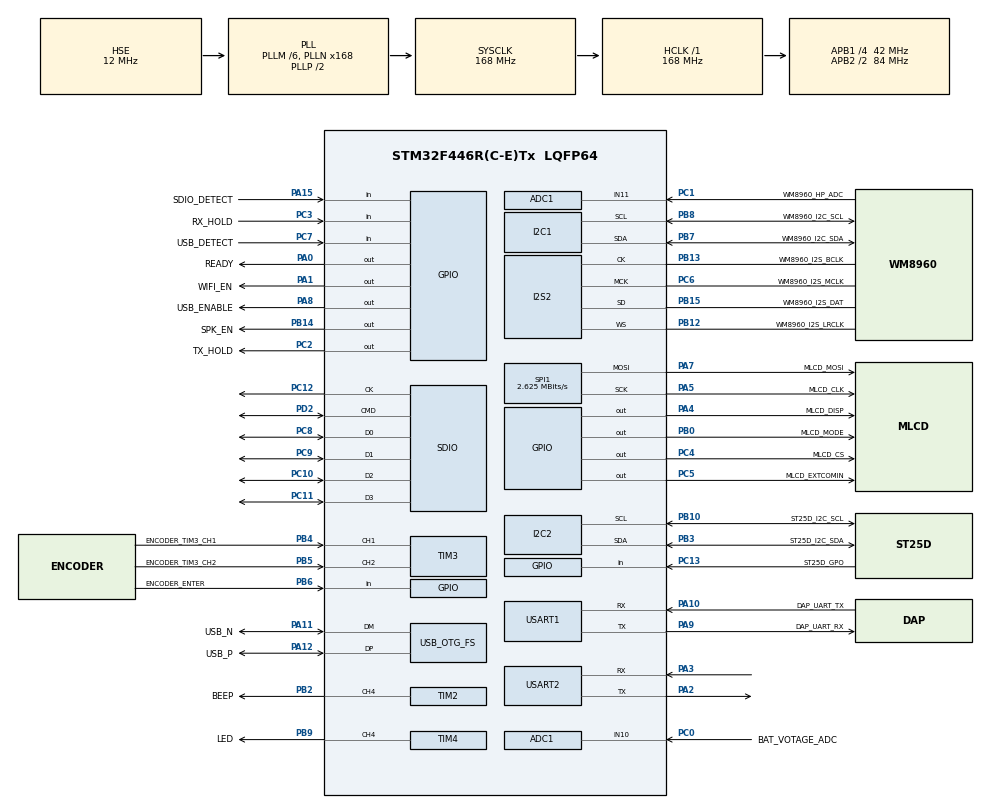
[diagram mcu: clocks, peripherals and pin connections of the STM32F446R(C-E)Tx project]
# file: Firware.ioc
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ADC1.Channel-0\#ChannelRegularConversion=ADC_CHANNEL_10
ADC1.NbrOfConversionFlag=1
ADC1.Rank-0\#ChannelRegularConversion=1
ADC1.SamplingTime-0\#ChannelRegularConversion=ADC_SAMPLETIME_3CYCLES
ADC1.master=1
Dma.Request0=SPI2_TX
Dma.Request1=SPI1_TX
Dma.Request2=SDIO_RX
Dma.Request3=SDIO_TX
Dma.SDIO_RX.2.Direction=DMA_PERIPH_TO_MEMORY
Dma.SDIO_RX.2.FIFOMode=DMA_FIFOMODE_ENABLE
Dma.SDIO_RX.2.FIFOThreshold=DMA_FIFO_THRESHOLD_FULL
Dma.SDIO_RX.2.Instance=DMA2_Stream6
Dma.SDIO_RX.2.MemBurst=DMA_MBURST_INC4
Dma.SDIO_RX.2.MemDataAlignment=DMA_MDATAALIGN_WORD
Dma.SDIO_RX.2.MemInc=DMA_MINC_ENABLE
Dma.SDIO_RX.2.Mode=DMA_PFCTRL
Dma.SDIO_RX.2.PeriphBurst=DMA_PBURST_INC4
Dma.SDIO_RX.2.PeriphDataAlignment=DMA_PDATAALIGN_WORD
Dma.SDIO_RX.2.PeriphInc=DMA_PINC_DISABLE
Dma.SDIO_RX.2.Priority=DMA_PRIORITY_LOW
Dma.SDIO_TX.3.Direction=DMA_MEMORY_TO_PERIPH
Dma.SDIO_TX.3.FIFOMode=DMA_FIFOMODE_ENABLE
Dma.SDIO_TX.3.FIFOThreshold=DMA_FIFO_THRESHOLD_FULL
Dma.SDIO_TX.3.Instance=DMA2_Stream3
Dma.SDIO_TX.3.MemBurst=DMA_MBURST_INC4
Dma.SDIO_TX.3.MemDataAlignment=DMA_MDATAALIGN_WORD
Dma.SDIO_TX.3.MemInc=DMA_MINC_ENABLE
Dma.SDIO_TX.3.Mode=DMA_PFCTRL
Dma.SDIO_TX.3.PeriphBurst=DMA_PBURST_INC4
Dma.SDIO_TX.3.PeriphDataAlignment=DMA_PDATAALIGN_WORD
Dma.SDIO_TX.3.PeriphInc=DMA_PINC_DISABLE
Dma.SDIO_TX.3.Priority=DMA_PRIORITY_LOW
Dma.SPI1_TX.1.Direction=DMA_MEMORY_TO_PERIPH
Dma.SPI1_TX.1.FIFOMode=DMA_FIFOMODE_DISABLE
Dma.SPI1_TX.1.Instance=DMA2_Stream5
Dma.SPI1_TX.1.MemDataAlignment=DMA_MDATAALIGN_BYTE
Dma.SPI1_TX.1.MemInc=DMA_MINC_ENABLE
Dma.SPI1_TX.1.Mode=DMA_NORMAL
Dma.SPI1_TX.1.PeriphDataAlignment=DMA_PDATAALIGN_BYTE
Dma.SPI1_TX.1.PeriphInc=DMA_PINC_DISABLE
Dma.SPI1_TX.1.Priority=DMA_PRIORITY_LOW
Dma.SPI2_TX.0.Direction=DMA_MEMORY_TO_PERIPH
Dma.SPI2_TX.0.FIFOMode=DMA_FIFOMODE_DISABLE
Dma.SPI2_TX.0.Instance=DMA1_Stream4
Dma.SPI2_TX.0.MemDataAlignment=DMA_MDATAALIGN_HALFWORD
Dma.SPI2_TX.0.MemInc=DMA_MINC_ENABLE
Dma.SPI2_TX.0.Mode=DMA_NORMAL
Dma.SPI2_TX.0.PeriphDataAlignment=DMA_PDATAALIGN_HALFWORD
Dma.SPI2_TX.0.PeriphInc=DMA_PINC_DISABLE
Dma.SPI2_TX.0.Priority=DMA_PRIORITY_LOW
FATFS.BSP.number=1
FATFS._USE_LFN=2
FATFS0.BSP.STBoard=false
FATFS0.BSP.api=Unknown
FATFS0.BSP.instance=PA15
FATFS0.BSP.ip=GPIO
FATFS0.BSP.mode=Input
FATFS0.BSP.name=Detect_SDIO
FATFS0.BSP.solution=PA15
FREERTOS.Tasks01=defaultTask,24,128,StartDefaultTask,Default,NULL,Static,defaultTaskBuffer,defaultTaskControlBlock;GUITask,24,1024,StartGUITask,Default,NULL,Static,GUITaskBuffer,GUITaskControlBlock;audioTask,25,1024,StartAudioTask,Default,NULL,Static,audioTaskBuffer,audioTaskControlBlock;transferTask,26,1024,StartTransferTask,Default,NULL,Static,transferTaskBuffer,transferTaskControlBlock;sysCheckTask,8,512,StartSysCheckTask,Default,NULL,Static,sysCheckTaskBuffer,sysCheckTaskControlBlock
I2S2.AudioFreq=I2S_AUDIOFREQ_16K
I2S2.ErrorAudioFreq=1.72 %
I2S2.FullDuplexMode=I2S_FULLDUPLEXMODE_DISABLE
I2S2.Instance=SPI$Index
I2S2.RealAudioFreq=16.276 KHz
I2S2.VirtualMode=I2S_MODE_MASTER
Mcu.Family=STM32F4
Mcu.Name=STM32F446R(C-E)Tx
Mcu.Package=LQFP64
NVIC.DMA1_Stream4_IRQn=true\:6\:0\:true\:false\:true\:true\:false\:true\:true
NVIC.DMA2_Stream3_IRQn=true\:6\:0\:true\:false\:true\:true\:false\:true\:true
NVIC.DMA2_Stream5_IRQn=true\:6\:0\:true\:false\:true\:true\:false\:true\:true
NVIC.DMA2_Stream6_IRQn=true\:6\:0\:true\:false\:true\:true\:false\:true\:true
NVIC.OTG_FS_IRQn=true\:6\:0\:true\:false\:true\:true\:false\:true\:true
NVIC.PriorityGroup=NVIC_PRIORITYGROUP_4
NVIC.SDIO_IRQn=true\:5\:0\:true\:false\:true\:true\:true\:true\:true
NVIC.TIM1_UP_TIM10_IRQn=true\:15\:0\:false\:false\:true\:false\:false\:true\:true
NVIC.TimeBase=TIM1_UP_TIM10_IRQn
NVIC.TimeBaseIP=TIM1
PA0-WKUP.GPIO_Label=READY
PA0-WKUP.Signal=GPIO_Output
PA1.GPIO_Label=WIFI_EN
PA1.Signal=GPIO_Output
PA10.GPIO_Label=DAP_UART_TX
PA10.Mode=Asynchronous
PA10.Signal=USART1_RX
PA11.GPIO_Label=USB_N
PA11.Mode=Device_Only
PA11.Signal=USB_OTG_FS_DM
PA12.GPIO_Label=USB_P
PA12.Mode=Device_Only
PA12.Signal=USB_OTG_FS_DP
PA13.Mode=Serial_Wire
PA13.Signal=SYS_JTMS-SWDIO
PA14.Mode=Serial_Wire
PA14.Signal=SYS_JTCK-SWCLK
PA15.GPIO_Label=SDIO_DETECT
PA15.Signal=GPIO_Input
PA2.Mode=Asynchronous
PA2.Signal=USART2_TX
PA3.Mode=Asynchronous
PA3.Signal=USART2_RX
PA4.GPIO_Label=MLCD_DISP
PA4.Signal=GPIO_Output
PA5.GPIO_Label=MLCD_CLK
PA5.Mode=TX_Only_Simplex_Unidirect_Master
PA5.Signal=SPI1_SCK
PA7.GPIO_Label=MLCD_MOSI
PA7.Mode=TX_Only_Simplex_Unidirect_Master
PA7.Signal=SPI1_MOSI
PA8.GPIO_Label=USB_ENABLE
PA8.Signal=GPIO_Output
PA9.GPIO_Label=DAP_UART_RX
PA9.Mode=Asynchronous
PA9.Signal=USART1_TX
PB0.GPIO_Label=MLCD_MODE
PB0.Signal=GPIO_Output
PB10.GPIO_Label=ST25D_I2C_SCL
PB10.Mode=I2C
PB10.Signal=I2C2_SCL
PB12.GPIO_Label=WM8960_I2S_LRCLK
PB12.Mode=Half_Duplex_Master
PB12.Signal=I2S2_WS
PB13.GPIO_Label=WM8960_I2S_BCLK
PB13.Mode=Half_Duplex_Master
PB13.Signal=I2S2_CK
PB14.GPIO_Label=SPK_EN
PB14.Signal=GPIO_Output
PB15.GPIO_Label=WM8960_I2S_DAT
PB15.Mode=Half_Duplex_Master
PB15.Signal=I2S2_SD
PB2.GPIO_Label=BEEP
PB2.Signal=S_TIM2_CH4
PB3.GPIO_Label=ST25D_I2C_SDA
PB3.Mode=I2C
PB3.Signal=I2C2_SDA
PB4.GPIO_Label=ENCODER_TIM3_CH1
PB4.GPIO_PuPd=GPIO_PULLUP
PB4.Signal=S_TIM3_CH1
PB5.GPIO_Label=ENCODER_TIM3_CH2
PB5.GPIO_PuPd=GPIO_PULLUP
PB5.GPIO_Speed=GPIO_SPEED_FREQ_MEDIUM
PB5.Signal=S_TIM3_CH2
PB6.GPIO_Label=ENCODER_ENTER
PB6.GPIO_PuPd=GPIO_PULLUP
PB6.Signal=GPIO_Input
PB7.GPIO_Label=WM8960_I2C_SDA
PB7.Mode=I2C
PB7.Signal=I2C1_SDA
PB8.GPIO_Label=WM8960_I2C_SCL
PB8.Mode=I2C
PB8.Signal=I2C1_SCL
PB9.GPIO_Label=LED
PB9.Signal=S_TIM4_CH4
PC0.GPIO_Label=BAT_VOTAGE_ADC
PC0.Signal=ADCx_IN10
PC1.GPIO_Label=WM8960_HP_ADC
PC1.Signal=ADCx_IN11
PC10.Mode=SD_4_bits_Wide_bus
PC10.Signal=SDIO_D2
PC11.Mode=SD_4_bits_Wide_bus
PC11.Signal=SDIO_D3
PC12.Mode=SD_4_bits_Wide_bus
PC12.Signal=SDIO_CK
PC13.GPIO_Label=ST25D_GPO
PC13.Signal=GPIO_Input
PC14-OSC32_IN.Mode=LSE-External-Oscillator
PC14-OSC32_IN.Signal=RCC_OSC32_IN
PC15-OSC32_OUT.Mode=LSE-External-Oscillator
PC15-OSC32_OUT.Signal=RCC_OSC32_OUT
PC2.GPIO_Label=TX_HOLD
PC2.Signal=GPIO_Output
PC3.GPIO_Label=RX_HOLD
PC3.Signal=GPIO_Input
PC4.GPIO_Label=MLCD_CS
PC4.Signal=GPIO_Output
PC5.GPIO_Label=MLCD_EXTCOMIN
PC5.Signal=GPIO_Output
PC6.GPIO_Label=WM8960_I2S_MCLK
PC6.Mode=Master_Clock_Activated
PC6.Signal=I2S2_MCK
PC7.GPIO_Label=USB_DETECT
PC7.Signal=GPIO_Input
PC8.Mode=SD_4_bits_Wide_bus
PC8.Signal=SDIO_D0
PC9.Mode=SD_4_bits_Wide_bus
PC9.Signal=SDIO_D1
PD2.Mode=SD_4_bits_Wide_bus
PD2.Signal=SDIO_CMD
PH0-OSC_IN.Mode=HSE-External-Oscillator
PH0-OSC_IN.Signal=RCC_OSC_IN
PH1-OSC_OUT.Mode=HSE-External-Oscillator
PH1-OSC_OUT.Signal=RCC_OSC_OUT
ProjectManager.HeapSize=0x800
ProjectManager.StackSize=0x2000
ProjectManager.TargetToolchain=CMake
RCC.AHBFreq_Value=168000000
RCC.APB1CLKDivider=RCC_HCLK_DIV4
RCC.APB1Freq_Value=42000000
RCC.APB1TimFreq_Value=84000000
RCC.APB2CLKDivider=RCC_HCLK_DIV2
RCC.APB2Freq_Value=84000000
RCC.APB2TimFreq_Value=168000000
RCC.CortexFreq_Value=168000000
RCC.HCLKFreq_Value=168000000
RCC.HSE_VALUE=12000000
RCC.PLLI2SM=6
RCC.PLLI2SN=50
RCC.PLLM=6
RCC.PLLN=168
RCC.PLLQ=7
RCC.SYSCLKFreq_VALUE=168000000
RCC.SYSCLKSource=RCC_SYSCLKSOURCE_PLLCLK
RCC.USBFreq_Value=48000000
RCC.VCOOutputFreq_Value=336000000
SDIO.ClockDiv=4
SDIO.HardwareFlowControl=SDIO_HARDWARE_FLOW_CONTROL_DISABLE
SH.ADCx_IN10.0=ADC1_IN10,IN10
SH.ADCx_IN11.0=ADC1_IN11,IN11
SH.S_TIM2_CH4.0=TIM2_CH4,PWM Generation4 CH4
SH.S_TIM3_CH1.0=TIM3_CH1,Encoder_Interface
SH.S_TIM3_CH2.0=TIM3_CH2,Encoder_Interface
SH.S_TIM4_CH4.0=TIM4_CH4,Forced Output4 CH4
SPI1.BaudRatePrescaler=SPI_BAUDRATEPRESCALER_32
SPI1.CalculateBaudRate=2.625 MBits/s
SPI1.Direction=SPI_DIRECTION_2LINES
SPI1.FirstBit=SPI_FIRSTBIT_LSB
SPI1.Mode=SPI_MODE_MASTER
SPI1.VirtualType=VM_MASTER
STMicroelectronics.X-CUBE-AI.10.2.1.HeapSize=0x800
STMicroelectronics.X-CUBE-AI.10.2.1.ReadyForCodeGeneration=false
STMicroelectronics.X-CUBE-AI.10.2.1.StackSize=0x2000
STMicroelectronics.X-CUBE-AI.10.2.1.XAaCUBEAaAICcArtificialOoIntelligenceJjCore=true
STMicroelectronics.X-CUBE-ALGOBUILD.1.5.0.LibraryCcDSPOoLibraryJjDSPOoLibrary=true
TIM2.Channel-PWM\ Generation4\ CH4=TIM_CHANNEL_4
TIM2.Period=10000
TIM2.Prescaler=168
TIM4.Channel-Forced\ Output4\ CH4=TIM_CHANNEL_4
USART1.VirtualMode=VM_ASYNC
USART2.VirtualMode=VM_ASYNC
USB_DEVICE.CLASS_NAME_FS=MSC
USB_DEVICE.VirtualMode-MSC_FS=Msc
USB_DEVICE.VirtualModeFS=Msc_FS
USB_OTG_FS.VirtualMode=Device_Only
VP_FATFS_VS_SDIO.Mode=SDIO
VP_FREERTOS_VS_CMSIS_V2.Mode=CMSIS_V2
VP_STMicroelectronics.X-CUBE-AI_VS_ArtificialOoIntelligenceJjXAaCUBEAaAI_10.2.1.Mode=ArtificialOoIntelligenceJjXAaCUBEAaAI
VP_STMicroelectronics.X-CUBE-ALGOBUILD_VS_DSPOoLibraryJjLibrary_1.5.0_1.5.0.Mode=DSPOoLibraryJjLibrary
VP_SYS_VS_tim1.Mode=TIM1
VP_USB_DEVICE_VS_USB_DEVICE_MSC_FS.Mode=MSC_FS
board=custom

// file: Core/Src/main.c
/* USER CODE BEGIN Header */
/**
  ******************************************************************************
  * @file           : main.c
  * @brief          : Main program body
  ******************************************************************************
  * @attention
  *
  * Copyright (c) 2022 STMicroelectronics.
  * All rights reserved.
  *
  * This software is licensed under terms that can be found in the LICENSE file
  * in the root directory of this software component.
  * If no LICENSE file comes with this software, it is provided AS-IS.
  *
  ******************************************************************************
  */

/* USER CODE END Header */
#include "main.h"
#include "cmsis_os.h"
#include "adc.h"
#include "dma.h"
#include "fatfs.h"
#include "i2c.h"
#include "i2s.h"
#include "sdio.h"
#include "spi.h"
#include "tim.h"
#include "usart.h"
#include "usb_device.h"
#include "gpio.h"

/* USER CODE BEGIN Includes */
#include "fops.h"
#include "ff.h"
#include "bsp_delay.h"
#include "lvgl.h"
#include "bsp_usart.h"
/* USER CODE END Includes */

void SystemClock_Config(void);
void MX_FREERTOS_Init(void);

int main(void)
{

  /* MCU Configuration--------------------------------------------------------*/

  /* Reset of all peripherals, Initializes the Flash interface and the Systick. */
  HAL_Init();

  /* Configure the system clock */
  SystemClock_Config();

  /* Initialize all configured peripherals */
  MX_GPIO_Init();
  MX_DMA_Init();
  MX_ADC1_Init();
  MX_I2C1_Init();
  MX_I2C2_Init();
  MX_I2S2_Init();
  MX_SDIO_SD_Init();
  MX_SPI1_Init();
  MX_TIM2_Init();
  MX_TIM3_Init();
  MX_TIM4_Init();
  MX_USART1_UART_Init();
  MX_USART2_UART_Init();
  MX_FATFS_Init();
  /* USER CODE BEGIN 2 */
  delay_init();
  delay_ms(1000);

  /* USER CODE END 2 */

  /* Init scheduler */
  osKernelInitialize();  /* Call init function for freertos objects (in cmsis_os2.c) */
  MX_FREERTOS_Init();

  /* Start scheduler */
  osKernelStart();

  /* We should never get here as control is now taken by the scheduler */

  /* Infinite loop */
    while (1)
    {

    }
}

void SystemClock_Config(void)
{
  RCC_OscInitTypeDef RCC_OscInitStruct = {0};
  RCC_ClkInitTypeDef RCC_ClkInitStruct = {0};

  /** Configure the main internal regulator output voltage
  */
  __HAL_RCC_PWR_CLK_ENABLE();
  __HAL_PWR_VOLTAGESCALING_CONFIG(PWR_REGULATOR_VOLTAGE_SCALE1);

  /** Initializes the RCC Oscillators according to the specified parameters
  * in the RCC_OscInitTypeDef structure.
  */
  RCC_OscInitStruct.OscillatorType = RCC_OSCILLATORTYPE_HSE;
  RCC_OscInitStruct.HSEState = RCC_HSE_ON;
  RCC_OscInitStruct.PLL.PLLState = RCC_PLL_ON;
  RCC_OscInitStruct.PLL.PLLSource = RCC_PLLSOURCE_HSE;
  RCC_OscInitStruct.PLL.PLLM = 6;
  RCC_OscInitStruct.PLL.PLLN = 168;
  RCC_OscInitStruct.PLL.PLLP = RCC_PLLP_DIV2;
  RCC_OscInitStruct.PLL.PLLQ = 7;
  RCC_OscInitStruct.PLL.PLLR = 2;
  if (HAL_RCC_OscConfig(&RCC_OscInitStruct) != HAL_OK)
  {
    Error_Handler();
  }

  /** Initializes the CPU, AHB and APB buses clocks
  */
  RCC_ClkInitStruct.ClockType = RCC_CLOCKTYPE_HCLK|RCC_CLOCKTYPE_SYSCLK
                              |RCC_CLOCKTYPE_PCLK1|RCC_CLOCKTYPE_PCLK2;
  RCC_ClkInitStruct.SYSCLKSource = RCC_SYSCLKSOURCE_PLLCLK;
  RCC_ClkInitStruct.AHBCLKDivider = RCC_SYSCLK_DIV1;
  RCC_ClkInitStruct.APB1CLKDivider = RCC_HCLK_DIV4;
  RCC_ClkInitStruct.APB2CLKDivider = RCC_HCLK_DIV2;

  if (HAL_RCC_ClockConfig(&RCC_ClkInitStruct, FLASH_LATENCY_5) != HAL_OK)
  {
    Error_Handler();
  }
}

void HAL_TIM_PeriodElapsedCallback(TIM_HandleTypeDef *htim)
{
  if (htim->Instance == TIM1)
  {
    HAL_IncTick();
  }
  /* USER CODE BEGIN Callback 1 */
  if (htim->Instance == TIM1) {  // 1ms
    lv_tick_inc(1);
  }
  /* USER CODE END Callback 1 */
}

void Error_Handler(void)
{
  __disable_irq();
  while (1)
  {
  }
}

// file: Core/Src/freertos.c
/* USER CODE BEGIN Header */
/**
  ******************************************************************************
  * File Name          : freertos.c
  * Description        : Code for freertos applications
  ******************************************************************************
  * @attention
  *
  * Copyright (c) 2022 STMicroelectronics.
  * All rights reserved.
  *
  * This software is licensed under terms that can be found in the LICENSE file
  * in the root directory of this software component.
  * If no LICENSE file comes with this software, it is provided AS-IS.
  *
  ******************************************************************************
  */
#include "lvgl.h"
#include "lv_port_disp.h"
#include "lv_port_fs.h"
#include "lv_port_indev.h"
#include "bsp_key.h"
#include "sdio.h"
#include "ff.h"
#include "fatfs.h"
#include "pages/page_main.h"
#include "gui_setup.h"
#include "fops.h"
#include "bsp_usart.h"
#include "pages/page_audio.h"
#include "WM8960Apps.h"
#include "mlcd.h"
/* USER CODE END Header */

#include "FreeRTOS.h"
#include "task.h"
#include "main.h"
#include "cmsis_os.h"

typedef StaticTask_t osStaticThreadDef_t;
/* USER CODE BEGIN PTD */
extern TIM_HandleTypeDef htim3;
/* USER CODE END PTD */

/* Definitions for defaultTask */
osThreadId_t defaultTaskHandle;
uint32_t defaultTaskBuffer[ 128 ];
osStaticThreadDef_t defaultTaskControlBlock;
const osThreadAttr_t defaultTask_attributes = {
  .name = "defaultTask",
  .cb_mem = &defaultTaskControlBlock,
  .cb_size = sizeof(defaultTaskControlBlock),
  .stack_mem = &defaultTaskBuffer[0],
  .stack_size = sizeof(defaultTaskBuffer),
  .priority = (osPriority_t) osPriorityNormal,
};
/* Definitions for GUITask */
osThreadId_t GUITaskHandle;
uint32_t GUITaskBuffer[ 1024 ];
osStaticThreadDef_t GUITaskControlBlock;
const osThreadAttr_t GUITask_attributes = {
  .name = "GUITask",
  .cb_mem = &GUITaskControlBlock,
  .cb_size = sizeof(GUITaskControlBlock),
  .stack_mem = &GUITaskBuffer[0],
  .stack_size = sizeof(GUITaskBuffer),
  .priority = (osPriority_t) osPriorityNormal,
};
/* Definitions for audioTask */
osThreadId_t audioTaskHandle;
uint32_t audioTaskBuffer[ 1024 ];
osStaticThreadDef_t audioTaskControlBlock;
const osThreadAttr_t audioTask_attributes = {
  .name = "audioTask",
  .cb_mem = &audioTaskControlBlock,
  .cb_size = sizeof(audioTaskControlBlock),
  .stack_mem = &audioTaskBuffer[0],
  .stack_size = sizeof(audioTaskBuffer),
  .priority = (osPriority_t) osPriorityNormal1,
};
/* Definitions for transferTask */
osThreadId_t transferTaskHandle;
uint32_t transferTaskBuffer[ 1024 ];
osStaticThreadDef_t transferTaskControlBlock;
const osThreadAttr_t transferTask_attributes = {
  .name = "transferTask",
  .cb_mem = &transferTaskControlBlock,
  .cb_size = sizeof(transferTaskControlBlock),
  .stack_mem = &transferTaskBuffer[0],
  .stack_size = sizeof(transferTaskBuffer),
  .priority = (osPriority_t) osPriorityNormal2,
};
/* Definitions for sysCheckTask */
osThreadId_t sysCheckTaskHandle;
uint32_t sysCheckTaskBuffer[ 512 ];
osStaticThreadDef_t sysCheckTaskControlBlock;
const osThreadAttr_t sysCheckTask_attributes = {
  .name = "sysCheckTask",
  .cb_mem = &sysCheckTaskControlBlock,
  .cb_size = sizeof(sysCheckTaskControlBlock),
  .stack_mem = &sysCheckTaskBuffer[0],
  .stack_size = sizeof(sysCheckTaskBuffer),
  .priority = (osPriority_t) osPriorityLow,
};

void StartDefaultTask(void *argument);
void StartGUITask(void *argument);
void StartAudioTask(void *argument);
void StartTransferTask(void *argument);
void StartSysCheckTask(void *argument);

extern void MX_USB_DEVICE_Init(void);
void MX_FREERTOS_Init(void); /* (MISRA C 2004 rule 8.1) */

void MX_FREERTOS_Init(void) {

  /* Create the thread(s) */
  /* creation of defaultTask */
  defaultTaskHandle = osThreadNew(StartDefaultTask, NULL, &defaultTask_attributes);

  /* creation of GUITask */
  GUITaskHandle = osThreadNew(StartGUITask, NULL, &GUITask_attributes);

  /* creation of audioTask */
  audioTaskHandle = osThreadNew(StartAudioTask, NULL, &audioTask_attributes);

  /* creation of transferTask */
  transferTaskHandle = osThreadNew(StartTransferTask, NULL, &transferTask_attributes);

  /* creation of sysCheckTask */
  sysCheckTaskHandle = osThreadNew(StartSysCheckTask, NULL, &sysCheckTask_attributes);

  /* USER CODE BEGIN RTOS_THREADS */
  vTaskSuspend(GUITaskHandle);
  vTaskSuspend(audioTaskHandle);
  vTaskSuspend(transferTaskHandle);
  vTaskSuspend(sysCheckTaskHandle);

  /* USER CODE END RTOS_THREADS */

}

void StartDefaultTask(void *argument)
{
  /* init code for USB_DEVICE */
  MX_USB_DEVICE_Init();
  /* USER CODE BEGIN StartDefaultTask */
    static portTickType PreviousWakeTime;
    const portTickType TimeIncrement = pdMS_TO_TICKS(1000);
    PreviousWakeTime = xTaskGetTickCount();
    lv_init();
    lv_port_disp_init();
    lv_port_indev_init();
    lv_port_fs_init();
    GUIInit();
    HAL_TIM_Encoder_Start(&htim3,TIM_CHANNEL_ALL);
    // HAL_GPIO_WritePin(USB_ENABLE_GPIO_Port, USB_ENABLE_Pin, GPIO_PIN_SET);
    vTaskResume(GUITaskHandle);
    // vTaskResume(audioTaskHandle);
    // vTaskResume(transferTaskHandle);
    // vTaskResume(sysCheckTaskHandle);
    /* Infinite loop */
    for (;;) {

        vTaskDelayUntil(&PreviousWakeTime, TimeIncrement);
    }
  /* USER CODE END StartDefaultTask */
}

void StartGUITask(void *argument)
{
  /* USER CODE BEGIN StartGUITask */
  static portTickType PreviousWakeTime;
  const portTickType TimeIncrement = pdMS_TO_TICKS(5);
  FRESULT mount_result;
  PreviousWakeTime = xTaskGetTickCount();

  mount_result = f_mount(&SDFatFS, SDPath, 1);
  Printf("SD mount: %s (%d)\r\n",
         (mount_result == FR_OK) ? "OK" : "failed",
         (int)mount_result);
  exf_showfree((uint8_t*)"0:");
  if (mount_result == FR_OK) vTaskResume(audioTaskHandle);
  setup_ui(&ui_main, &ui_ROOT, NULL);
  /* Infinite loop */
  for(;;)
  {
    lv_task_handler();
    mlcd_Service();
    vTaskDelayUntil(&PreviousWakeTime, TimeIncrement);
  }
  /* USER CODE END StartGUITask */
}

void StartAudioTask(void *argument)
{
  /* USER CODE BEGIN StartAudioTask */
  /* Infinite loop */
  for(;;)
  {
    PlayWaveFile(global_BUFF);
    /* During playback the driver blocks on DMA notifications. This delay is
       only the idle command poll; it does not pace the audio stream. */
    vTaskDelay(pdMS_TO_TICKS(10));
  }
  /* USER CODE END StartAudioTask */
}

void StartTransferTask(void *argument)
{
  /* USER CODE BEGIN StartTransferTask */
  static portTickType PreviousWakeTime;
  const portTickType TimeIncrement = pdMS_TO_TICKS(100);
  PreviousWakeTime = xTaskGetTickCount();
  /* Infinite loop */
  for(;;)
  {
    USART1_REC_Handler();
    vTaskDelayUntil(&PreviousWakeTime, TimeIncrement);
  }
  /* USER CODE END StartTransferTask */
}

void StartSysCheckTask(void *argument)
{
  /* USER CODE BEGIN StartSysCheckTask */
  static portTickType PreviousWakeTime;
  const portTickType TimeIncrement = pdMS_TO_TICKS(100);
  PreviousWakeTime = xTaskGetTickCount();
  /* Infinite loop */
  for(;;)
  {
    vTaskDelayUntil(&PreviousWakeTime, TimeIncrement);
  }
  /* USER CODE END StartSysCheckTask */
}
